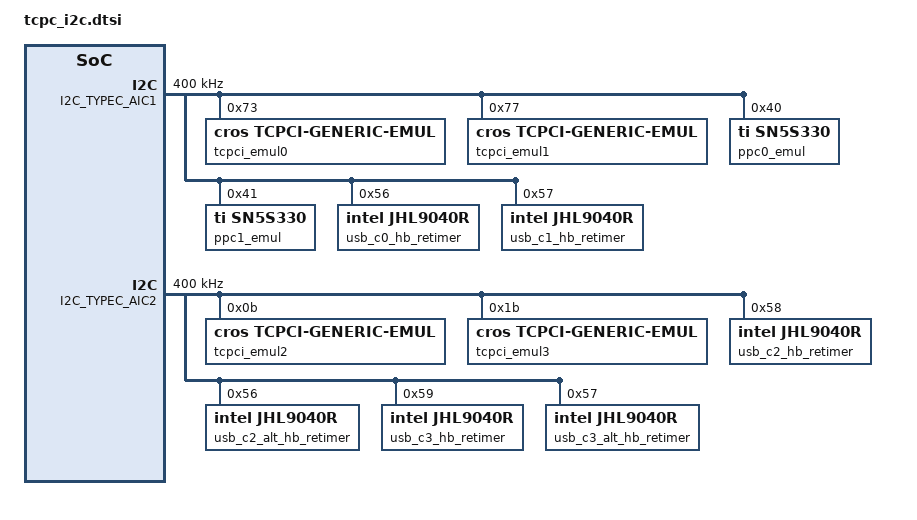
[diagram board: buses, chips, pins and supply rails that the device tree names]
/* Copyright 2024 The ChromiumOS Authors
 * Use of this source code is governed by a BSD-style license that can be
 * found in the LICENSE file.
 */

/ {
	named-i2c-ports {
		compatible = "named-i2c-ports";

		typec_aic1: typec-aic1 {
			i2c-port = <&I2C_TYPEC_AIC1>;
			enum-names = "I2C_PORT_TYPEC_AIC_1";
		};
		typec_aic2: typec-aic2 {
			i2c-port = <&I2C_TYPEC_AIC2>;
			enum-names = "I2C_PORT_TYPEC_AIC_2";
		};
	};

	I2C_TYPEC_AIC1: I2C_TYPEC_AIC1@100 {
		status = "okay";
		compatible = "zephyr,i2c-emul-controller";
		clock-frequency = <I2C_BITRATE_STANDARD>;
		#address-cells = <1>;
		#size-cells = <0>;
		reg = <0x100 6>;
	};

	I2C_TYPEC_AIC2: I2C_TYPEC_AIC2@200 {
		status = "okay";
		compatible = "zephyr,i2c-emul-controller";
		clock-frequency = <I2C_BITRATE_STANDARD>;
		#address-cells = <1>;
		#size-cells = <0>;
		reg = <0x200 6>;
	};

	ioex_c0: gpio@0 {
		compatible = "zephyr,gpio-emul";
		reg = <0x101 0x4>;
		gpio-controller;
		#gpio-cells = <2>;
		ngpios = <8>;
	};

	ioex_c1: gpio@1 {
		compatible = "zephyr,gpio-emul";
		reg = <0x110 0x4>;
		gpio-controller;
		#gpio-cells = <2>;
		ngpios = <8>;

	};
};

/* typec_aic1 */
&I2C_TYPEC_AIC1 {
	status = "okay";
	clock-frequency = <I2C_BITRATE_FAST>;

	tcpci_emul0: tcpci_emul@73 {
		compatible = "cros,tcpci-generic-emul";
		status = "okay";
		int-pin = <&usbc_tcpc_alrt_p0>;
		reg = <0x73>;
	};

	tcpci_emul1: tcpci_emul@77 {
		compatible = "cros,tcpci-generic-emul";
		status = "okay";
		int-pin = <&usbc_tcpc_alrt_p0>;
		reg = <0x77>;
	};

	ppc0_emul: sn5s330@40 {
		compatible = "ti,sn5s330","cros,i2c-mock";
		status = "okay";
		reg = <0x40>;
		/* a duplicate of the <&usbc_tcpc_ppc_alrt_p0> node in
		 * "named-gpios". This is the Zephyr preferred style,
		 * the "named-gpios" node will be dealt with at a later date.
		 */
		irq-gpios = <GPIO_USBC_TCPC_PPC_ALRT_P0 GPIO_ACTIVE_LOW>;
	};

	ppc1_emul: sn5s330@41 {
		compatible = "ti,sn5s330","cros,i2c-mock";
		status = "okay";
		reg = <0x41>;
		/* a duplicate of the <&usbc_tcpc_ppc_alrt_p1> node in
		 * "named-gpios". This is the Zephyr preferred style,
		 * the "named-gpios" node will be dealt with at a later date.
		 */
		irq-gpios = <GPIO_USBC_TCPC_PPC_ALRT_P1 GPIO_ACTIVE_LOW>;
	};

	usb_c0_hb_retimer: jhl9040r-c0@56 {
		compatible = "intel,jhl9040r","cros,i2c-mock";
		status = "okay";
		reg = <0x56>;
		reset-pin = <&usb_c0_hb_retimer_rst>;
		ls-en-pin = <&usb_c0_hb_retimer_ls_en>;
	};

	usb_c1_hb_retimer: jhl9040r-c1@57 {
		compatible = "intel,jhl9040r","cros,i2c-mock";
		status = "okay";
		reg = <0x57>;
		reset-pin = <&usb_c1_hb_retimer_rst>;
		ls-en-pin = <&usb_c1_hb_retimer_ls_en>;
	};
};

/* typec_aic2 */
&I2C_TYPEC_AIC2 {
	status = "okay";
	clock-frequency = <I2C_BITRATE_FAST>;

	tcpci_emul2: tcpci_emul@b {
		compatible = "cros,tcpci-generic-emul";
		status = "okay";
		reg = <0xb>;
		int-pin = <&usbc_tcpc_alrt_p2>;
	};

	tcpci_emul3: tcpci_emul@1b {
		compatible = "cros,tcpci-generic-emul";
		status = "okay";
		reg = <0x1b>;
		int-pin = <&usbc_tcpc_alrt_p3>;
	};

	usb_c2_hb_retimer: jhl9040r-c2@58 {
		compatible = "intel,jhl9040r","cros,i2c-mock";
		reg = <0x58>;
		reset-pin = <&usb_c2_hb_retimer_rst>;
		ls-en-pin = <&usb_c2_hb_retimer_ls_en>;
	};

	usb_c2_alt_hb_retimer: jhl9040r-c2@56 {
		compatible = "intel,jhl9040r","cros,i2c-mock";
		reg = <0x56>;
		reset-pin = <&usb_c2_hb_retimer_rst>;
		ls-en-pin = <&usb_c2_hb_retimer_ls_en>;
	};

	usb_c3_hb_retimer: jhl9040r-c3@59 {
		compatible = "intel,jhl9040r","cros,i2c-mock";
		reg = <0x59>;
		reset-pin = <&usb_c3_hb_retimer_rst>;
		ls-en-pin = <&usb_c3_hb_retimer_ls_en>;
	};

	usb_c3_alt_hb_retimer: jhl9040r-c3@57 {
		compatible = "intel,jhl9040r","cros,i2c-mock";
		reg = <0x57>;
		reset-pin = <&usb_c3_hb_retimer_rst>;
		ls-en-pin = <&usb_c3_hb_retimer_ls_en>;
	};
};
